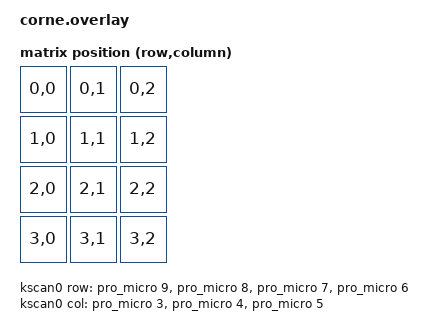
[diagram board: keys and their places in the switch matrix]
/*
 * Copyright (c) 2020 The ZMK Contributors
 *
 * SPDX-License-Identifier: MIT
 */

#include <dt-bindings/zmk/matrix_transform.h>
#include <dt-bindings/zmk/outputs.h>
#include <dt-bindings/zmk/bt.h>
#include "macrokeyboard-layouts.dtsi"


/ {
    chosen {
        zmk,kscan = &kscan0;
    };

    kscan0: kscan {
        compatible = "zmk,kscan-gpio-matrix";
        wakeup-source;

        diode-direction = "col2row";

         row-gpios
            = <&pro_micro 9 (GPIO_ACTIVE_HIGH | GPIO_PULL_DOWN)>
            , <&pro_micro 8 (GPIO_ACTIVE_HIGH | GPIO_PULL_DOWN)>
            , <&pro_micro 7 (GPIO_ACTIVE_HIGH | GPIO_PULL_DOWN)>
            , <&pro_micro 6 (GPIO_ACTIVE_HIGH | GPIO_PULL_DOWN)>
            ;

        col-gpios
            = <&pro_micro 3 GPIO_ACTIVE_HIGH>
            , <&pro_micro 4 GPIO_ACTIVE_HIGH>
            , <&pro_micro 5 GPIO_ACTIVE_HIGH>
            ;
    };

    default_transform: matrix_transform {
        compatible = "zmk,matrix-transform";
        rows = <4>;
        columns = <3>;

        map = <
            RC(0,0) RC(0,1) RC(0,2) 
            RC(1,0) RC(1,1) RC(1,2) 
            RC(2,0) RC(2,1) RC(2,2)
            RC(3,0) RC(3,1) RC(3,2) 
        >;
    };

    aliases {
        led-red = &led0;
        led-green = &led1;
        led-blue = &led2;
    };

    leds {
        compatible = "gpio-leds";
        status = "okay";
        led0: led_0 {
            gpios = <&gpio0 15 GPIO_ACTIVE_HIGH>;  // red LED, connected to P0.26     
        };
        led1: led_1 {
            gpios = <&gpio0 0 GPIO_ACTIVE_HIGH>;  // green LED, connected to P0.30
        };
        led2: led_2 {
            gpios = <&gpio0 0 GPIO_ACTIVE_HIGH>;  // blue LED, connected to P0.06
        };
    };
};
